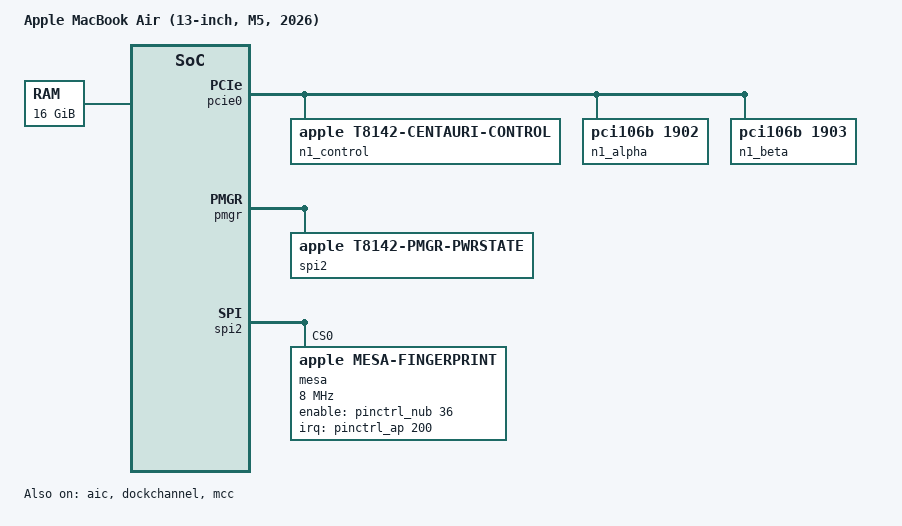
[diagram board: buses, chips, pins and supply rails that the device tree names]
// SPDX-License-Identifier: GPL-2.0+ OR MIT
/*
 * Apple MacBook Air (13-inch, M5, 2026), J813.
 *
 * Initial RAM boot resources measured from the J813 Apple Device Tree.
 * The loader supplies usable memory, CPU release addresses and framebuffer
 * geometry. Peripheral power management is left with the boot firmware.
 */
/dts-v1/;

#include "t8142.dtsi"

/ {
	compatible = "apple,j813", "apple,t8142", "apple,arm-platform";
	model = "Apple MacBook Air (13-inch, M5, 2026)";
	chassis-type = "laptop";

	aliases {
		serial0 = &dockchannel;
		serial1 = &serial0;
		/* The name loaders before aurora-silicon/aura#165 look up. */
		disp0_piodma = &disp0_piodma;
	};

	chosen {
		#address-cells = <2>;
		#size-cells = <2>;
		ranges;

		stdout-path = "serial0:1500000n8";

		framebuffer0: framebuffer@0 {
			compatible = "apple,simple-framebuffer", "simple-framebuffer";
			reg = <0 0 0 0>; /* Filled by the loader. */
			status = "disabled";
		};
	};

	memory@10000000000 {
		reg = <0x100 0 0x4 0>; /* Filled by the loader. */
	};
};

&cpu0 {
	operating-points-v2 = <&ecluster_opp>;
	performance-domains = <&cpufreq_e>;
	status = "okay";
};

&cpu1 {
	operating-points-v2 = <&ecluster_opp>;
	performance-domains = <&cpufreq_e>;
	status = "okay";
};

&cpu2 {
	operating-points-v2 = <&ecluster_opp>;
	performance-domains = <&cpufreq_e>;
	status = "okay";
};

&cpu3 {
	operating-points-v2 = <&ecluster_opp>;
	performance-domains = <&cpufreq_e>;
	status = "okay";
};

&cpu4 {
	operating-points-v2 = <&ecluster_opp>;
	performance-domains = <&cpufreq_e>;
	status = "okay";
};

&cpu5 {
	operating-points-v2 = <&ecluster_opp>;
	performance-domains = <&cpufreq_e>;
	status = "okay";
};

&cpu6 {
	operating-points-v2 = <&pcluster_opp>;
	performance-domains = <&cpufreq_p>;
	status = "okay";
};

&cpu7 {
	operating-points-v2 = <&pcluster_opp>;
	performance-domains = <&cpufreq_p>;
	status = "okay";
};

&cpu8 {
	operating-points-v2 = <&pcluster_opp>;
	performance-domains = <&cpufreq_p>;
	status = "okay";
};

&cpu9 {
	operating-points-v2 = <&pcluster_opp>;
	performance-domains = <&cpufreq_p>;
	status = "okay";
};

&{/timer} {
	status = "okay";
};

&aic {
	status = "okay";
};

&cpu_pmu {
	status = "okay";
};

&dockchannel {
	status = "okay";
};

#include "t8142-j813-display.dtsi"
#include "t8142-j813-gpu.dtsi"
#include "t8142-j813-peripherals.dtsi"
#include "t8142-j813-j815.dtsi"
#include "t8142-j813-usb.dtsi"
#include "t8142-j813-avd.dtsi"
#include "t8142-j813-isp.dtsi"
#include "t8142-j813-n1.dtsi"
#include "t8142-j813-audio.dtsi"
#include "t8142-hwmon.dtsi"

/*
 * Ambient light sensor, the AOP's "als" service: an ST VD6286, as on J815
 * (same ADT node, /arm-io/aop/iop-aop-nub/als). aop_als sends it the
 * per-device calibration (apple/aop-als-cal.bin). No firmware-name: that
 * names the CT817 setup-port message, which this sensor does not take.
 */
&aop {
	aop_als: als {
		compatible = "apple,t8142-aop-als", "apple,aop-als";
	};

	/*
	 * Lid angle: the J813 AOP firmware announces a "las" service, as the
	 * J815's does, and aop_las reads the hinge angle from it.
	 */
	aop_las: las {
		compatible = "apple,t8142-aop-las", "apple,aop-las";
	};
};

/*
 * N1 functions behind apcie port 0 (0000:00:00.0 -> 01:00.{0,1,2}), so the
 * loader has somewhere to put the factory addresses: it copies ADT /chosen
 * mac-address-wifi0 and mac-address-bluetooth0 into the wifi0/bluetooth0
 * alias targets. Same nodes as t8142-j815.dts (same N1, same PCI IDs).
 */
/ {
	aliases {
		wifi0 = &n1_alpha;
		bluetooth0 = &n1_beta;
	};
};

&pcie0 {
	n1_port: pci@0,0 {
		device_type = "pci";
		reg = <0x0 0x0 0x0 0x0 0x0>;
		bus-range = <1 1>;
		#address-cells = <3>;
		#size-cells = <2>;
		ranges;

		n1_control: control@0,0 {
			compatible = "apple,t8142-centauri-control", "pci106b,1900";
			reg = <0x10000 0x0 0x0 0x0 0x0>;
		};

		n1_alpha: wifi@0,1 {
			compatible = "pci106b,1902";
			reg = <0x10100 0x0 0x0 0x0 0x0>;
			/* Filled by the loader */
			local-mac-address = [00 00 00 00 00 00];
		};

		n1_beta: bluetooth@0,2 {
			compatible = "pci106b,1903";
			reg = <0x10200 0x0 0x0 0x0 0x0>;
			/* Filled by the loader */
			local-bd-address = [00 00 00 00 00 00];
		};
	};
};

&mtp_hid {
	multi-touch {
		firmware-name = "apple/tpmtfw-j813.bin";
	};
};

/* Unexposed chassis port instances remain described and disabled. */

/*
 * aura (mcc_init_m5) turns the system level cache on; the driver confirms it
 * and flushes on shutdown.
 */
&mcc {
	status = "okay";
};

#include "t8142-j813-sep.dtsi"
#include "t8142-j813-j815-sleep.dtsi"

#include "t8142-j813-dcpext.dtsi"

&{/reserved-memory} {
	/*
	 * Both roles' __TEXT, contiguous (ADT gfx-asc and gfx1-asc segment-ranges),
	 * which the driver identifies before it starts the firmware. Fixed at the
	 * macOS 27.0 address like fw-data, until the bootloader fills it in; under
	 * 27.2 (26B123) iBoot loads it at 0x100_00e5_4000 and the DATA at
	 * 0x100_0245_8000.
	 */
	gpu_fw_text: fw-text {
		reg = <0x100 0x00e44000 0x0 0x9c000>;
		no-map;
	};
};

&gpu {
	memory-region = <&uat_ttbs>, <&uat_pagetables>, <&uat_handoff>,
			<&uat_l2_pagetables>, <&gfx_data>, <&gfx1_data>,
			<&gpu_fw_data>, <&gpu_fw_text>;
	memory-region-names = "ttbs", "pagetables", "handoff",
			      "shared-l2", "gfx-data", "gfx1-data", "fw-data",
			      "fw-text";
};

/* Touch ID uses SPI2, with power on NUB GPIO 36 and data ready on AP GPIO 200. */
&pmgr {
	ps_spi2: power-controller@440 {
		compatible = "apple,t8142-pmgr-pwrstate", "apple,t8103-pmgr-pwrstate";
		reg = <0x440 4>;
		#power-domain-cells = <0>;
		#reset-cells = <0>;
		power-domains = <&ps_spi_p>;
		label = "spi2";
	};
};

&{/soc} {
	spi2: spi@3a5108000 {
		compatible = "apple,t8142-spi", "apple,t8103-spi";
		reg = <0x3 0xa5108000 0x0 0x4000>;
		interrupt-parent = <&aic>;
		interrupts = <AIC_IRQ 1241 IRQ_TYPE_LEVEL_HIGH>;
		clocks = <&clkref>;
		power-domains = <&ps_spi2>;
		#address-cells = <1>;
		#size-cells = <0>;
		status = "okay";

		mesa: fingerprint@0 {
			compatible = "apple,mesa-fingerprint";
			reg = <0>;
			spi-max-frequency = <8000000>;
			spi-cpol;
			spi-cs-setup-delay-ns = <20>;
			spi-cs-hold-delay-ns = <20>;
			enable-gpios = <&pinctrl_nub 36 GPIO_ACTIVE_HIGH>;
			interrupt-parent = <&pinctrl_ap>;
			interrupts = <200 IRQ_TYPE_EDGE_RISING>;
			/* Per-device files, built from the Mac's own factory records. */
			firmware-name = "apple/mesacal-j813.bin", "apple/msrk-j813.bin";
			status = "okay";
		};
	};
};

/* Expose the sensor's two pins next to the ones sound uses. */
&pinctrl_ap {
	gpio-reserved-ranges = <0 100>, <101 49>, <152 48>, <201 23>;
};

&pinctrl_nub {
	gpio-reserved-ranges = <0 18>, <19 17>, <37 3>;
};

/* The port controllers follow the sleep's command rules (tipd: woken first, read at intervals) */
&hpm0 {
	apple,sleep-ssps-rules;
};

&hpm1 {
	apple,sleep-ssps-rules;
};
